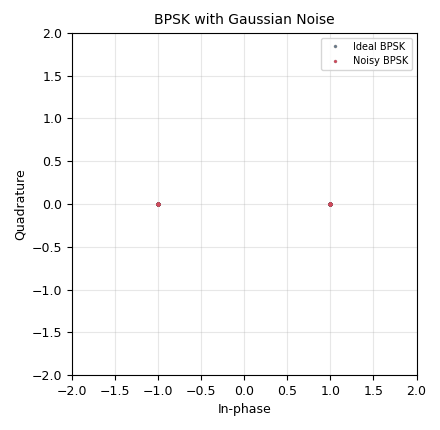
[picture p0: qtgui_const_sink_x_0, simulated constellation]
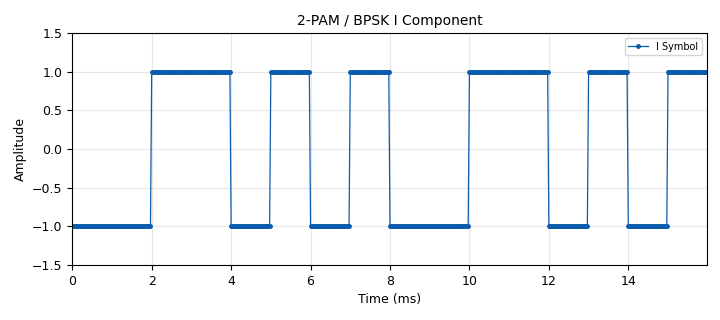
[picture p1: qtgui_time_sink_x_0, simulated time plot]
options:
  parameters:
    author: Dhrubjun
    generate_options: qt_gui
    id: exp3
    output_language: python
    title: BPSK with Noise and Decisions
  states: {}

blocks:
- name: noise_amp
  id: variable_qtgui_range
  parameters:
    label: Noise Amplitude
    start: '0'
    step: '0.05'
    stop: '2'
    value: '0'
  states: {}
- name: samp_rate
  id: variable
  parameters:
    value: '32000'
  states: {}
- name: samples_per_symbol
  id: variable
  parameters:
    value: int(samp_rate/symbol_rate)
  states: {}
- name: symbol_rate
  id: variable
  parameters:
    value: '1000'
  states: {}
- name: analog_const_source_x_0
  id: analog_const_source_x
  parameters:
    const: '0'
    type: float
  states: {}
- name: analog_noise_source_x_0
  id: analog_noise_source_x
  parameters:
    amp: noise_amp
    noise_type: analog.GR_GAUSSIAN
    seed: '0'
    type: complex
  states: {}
- name: blocks_add_xx_0
  id: blocks_add_xx
  parameters:
    type: complex
  states: {}
- name: blocks_float_to_complex_0
  id: blocks_float_to_complex
  parameters: {}
  states: {}
- name: blocks_repeat_0_0
  id: blocks_repeat
  parameters:
    interp: samples_per_symbol
    type: float
  states: {}
- name: blocks_throttle2_0
  id: blocks_throttle2
  parameters:
    samples_per_second: samp_rate
    type: byte
  states: {}
- name: blocks_vector_source_x_0
  id: blocks_vector_source_x
  parameters:
    repeat: 'True'
    type: byte
    vector: (0, 1, 0, 0, 1, 1, 0, 1)
  states: {}
- name: digital_chunks_to_symbols_xx_0
  id: digital_chunks_to_symbols_xx
  parameters:
    dimension: '1'
    in_type: byte
    out_type: float
    symbol_table: '[-1, 1]'
  states: {}
- name: qtgui_const_sink_x_0
  id: qtgui_const_sink_x
  parameters:
    grid: 'True'
    label1: Ideal BPSK
    label2: Noisy BPSK
    marker2: '2'
    name: BPSK with Gaussian Noise
    nconnections: '2'
    size: '256'
    type: complex
    width1: '5'
  states: {}
- name: qtgui_time_sink_x_0
  id: qtgui_time_sink_x
  parameters:
    grid: 'True'
    label1: I Symbol
    marker1: '0'
    name: 2-PAM / BPSK I Component
    size: '512'
    srate: samp_rate
    style1: '2'
    type: float
    ymax: '1.5'
    ymin: '-1.5'
  states: {}

connections:
- [analog_const_source_x_0, '0', blocks_float_to_complex_0, '1']
- [analog_noise_source_x_0, '0', blocks_add_xx_0, '1']
- [blocks_add_xx_0, '0', qtgui_const_sink_x_0, '1']
- [blocks_float_to_complex_0, '0', blocks_add_xx_0, '0']
- [blocks_float_to_complex_0, '0', qtgui_const_sink_x_0, '0']
- [blocks_repeat_0_0, '0', blocks_float_to_complex_0, '0']
- [blocks_repeat_0_0, '0', qtgui_time_sink_x_0, '0']
- [blocks_throttle2_0, '0', digital_chunks_to_symbols_xx_0, '0']
- [blocks_vector_source_x_0, '0', blocks_throttle2_0, '0']
- [digital_chunks_to_symbols_xx_0, '0', blocks_repeat_0_0, '0']

metadata:
  file_format: 1
  grc_version: 3.10.12.0
